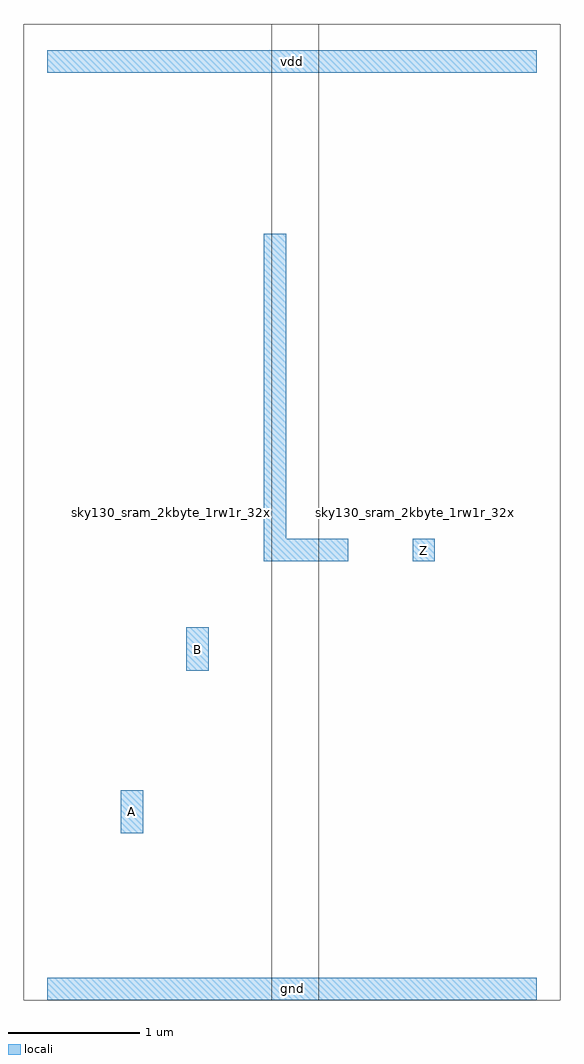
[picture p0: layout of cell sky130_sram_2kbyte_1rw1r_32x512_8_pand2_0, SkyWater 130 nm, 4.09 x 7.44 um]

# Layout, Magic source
magic
tech sky130A
magscale 1 2
<< locali >>
rect 0 1397 746 1431
rect 330 686 364 1151
rect 330 652 459 686
rect 557 652 591 686
rect 212 485 246 551
rect 112 237 146 303
rect 0 -17 746 17
use sky130_sram_2kbyte_1rw1r_32x512_8_pdriver_0  sky130_sram_2kbyte_1rw1r_32x512_8_pdriver_0_0
transform 1 0 378 0 1 0
box -36 -17 404 1471
use sky130_sram_2kbyte_1rw1r_32x512_8_pnand2_0  sky130_sram_2kbyte_1rw1r_32x512_8_pnand2_0_0
transform 1 0 0 0 1 0
box -36 -17 414 1471
<< labels >>
rlabel locali s 574 669 574 669 4 Z
port 1 nsew
rlabel locali s 129 270 129 270 4 A
port 2 nsew
rlabel locali s 229 518 229 518 4 B
port 3 nsew
rlabel locali s 373 0 373 0 4 gnd
port 4 nsew
rlabel locali s 373 1414 373 1414 4 vdd
port 5 nsew
<< properties >>
string FIXED_BBOX 0 0 746 1414
string GDS_FILE $PDKPATH/libs.ref/sky130_sram_macros/gds/sky130_sram_2kbyte_1rw1r_32x512_8.gds
string GDS_END 396344
string GDS_START 395202
<< end >>
